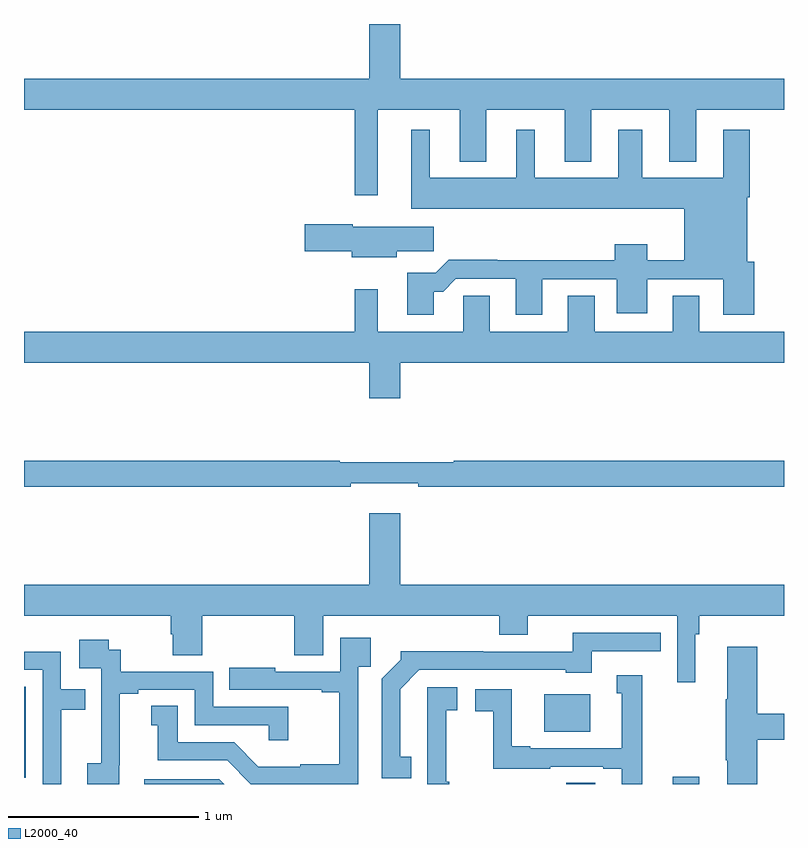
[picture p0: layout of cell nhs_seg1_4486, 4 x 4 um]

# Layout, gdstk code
import gdstk
lib = gdstk.Library(unit=1e-6, precision=1e-09)
def R(c, l, rs):  # rectangles x0, y0, x1, y1
    for r in rs: c.add(gdstk.rectangle(r[:2], r[2:], *l))
def P(c, l, *ps):  # polygons
    for p in ps: c.add(gdstk.Polygon(p, *l))
L2000_40 = (2000, 40)

nhs_seg1_4486 = lib.new_cell('nhs_seg1_4486')
R(nhs_seg1_4486, L2000_40, [(357.854,532.199,358.006,532.205), (358.415,532.199,358.555,532.237), (355,532.233,355.008,532.71), (357.737,532.475,357.979,532.672)])
P(nhs_seg1_4486, L2000_40, [(356.863,535.748),(357.293,535.748),(357.293,535.475),(357.433,535.475),(357.433,535.748),(357.845,535.748),(357.845,535.475),(357.985,535.475),(357.985,535.748),(358.397,535.748),(358.397,535.475),(358.537,535.475),(358.537,535.748),(359,535.748),(359,535.912),(356.98,535.912),(356.98,536.199),(356.816,536.199),(356.816,535.912),(355,535.912),(355,535.748),(356.742,535.748),(356.742,535.299),(356.863,535.299)],
  [(357.157,534.791),(357.206,534.791),(357.273,534.858),(357.587,534.858),(357.587,534.669),(357.727,534.669),(357.727,534.855),(358.121,534.855),(358.121,534.677),(358.279,534.677),(358.279,534.855),(358.679,534.855),(358.679,534.669),(358.844,534.669),(358.844,534.948),(358.807,534.948),(358.807,535.286),(358.82,535.286),(358.82,535.642),(358.679,535.642),(358.679,535.39),(358.255,535.39),(358.255,535.642),(358.127,535.642),(358.127,535.39),(357.688,535.39),(357.688,535.642),(357.59,535.642),(357.59,535.39),(357.136,535.39),(357.136,535.642),(357.038,535.642),(357.038,535.226),(358.475,535.226),(358.475,534.956),(358.279,534.956),(358.279,535.039),(358.109,535.039),(358.109,534.956),(357.491,534.956),(357.491,534.959),(357.236,534.959),(357.166,534.889),(357.017,534.889),(357.017,534.669),(357.157,534.669)],
  [(356.962,535.003),(357.157,535.003),(357.157,535.132),(356.73,535.132),(356.73,535.145),(356.478,535.145),(356.478,535.003),(356.726,535.003),(356.726,534.971),(356.962,534.971)],
  [(356.98,534.416),(359,534.416),(359,534.58),(358.555,534.58),(358.555,534.77),(358.415,534.77),(358.415,534.58),(358.003,534.58),(358.003,534.77),(357.863,534.77),(357.863,534.58),(357.451,534.58),(357.451,534.77),(357.312,534.77),(357.312,534.58),(356.863,534.58),(356.863,534.802),(356.742,534.802),(356.742,534.58),(355,534.58),(355,534.416),(356.816,534.416),(356.816,534.228),(356.98,534.228)],
  [(356.72,533.783),(357.076,533.783),(357.076,533.764),(359,533.764),(359,533.9),(357.262,533.9),(357.262,533.893),(356.662,533.893),(356.662,533.9),(355,533.9),(355,533.764),(356.72,533.764)],
  [(358.534,532.988),(358.553,532.988),(358.553,533.084),(359,533.084),(359,533.248),(356.98,533.248),(356.98,533.623),(356.816,533.623),(356.816,533.248),(355,533.248),(355,533.084),(355.772,533.084),(355.772,532.986),(355.784,532.986),(355.784,532.876),(355.937,532.876),(355.937,533.084),(356.423,533.084),(356.423,532.876),(356.575,532.876),(356.575,533.084),(357.5,533.084),(357.5,532.985),(357.652,532.985),(357.652,533.084),(358.437,533.084),(358.437,532.734),(358.534,532.734)],
  [(357.038,532.343),(356.98,532.343),(356.98,532.699),(357.081,532.8),(357.852,532.8),(357.852,532.784),(357.988,532.784),(357.988,532.899),(358.352,532.899),(358.352,532.995),(357.889,532.995),(357.889,532.896),(357.416,532.896),(357.416,532.898),(356.982,532.898),(356.982,532.853),(356.883,532.754),(356.883,532.23),(357.038,532.23)],
  [(356.76,532.817),(356.825,532.817),(356.825,532.969),(356.664,532.969),(356.664,532.791),(356.323,532.791),(356.323,532.81),(356.08,532.81),(356.08,532.695),(356.567,532.695),(356.567,532.683),(356.659,532.683),(356.659,532.303),(356.453,532.303),(356.453,532.291),(356.234,532.291),(356.106,532.419),(355.81,532.419),(355.81,532.61),(355.67,532.61),(355.67,532.507),(355.703,532.507),(355.703,532.323),(356.07,532.323),(356.194,532.199),(356.76,532.199)],
  [(355.502,532.297),(355.504,532.297),(355.504,532.675),(355.6,532.675),(355.6,532.695),(355.899,532.695),(355.899,532.509),(356.289,532.509),(356.289,532.428),(356.39,532.428),(356.39,532.605),(355.995,532.605),(355.995,532.791),(355.508,532.791),(355.508,532.905),(355.446,532.905),(355.446,532.957),(355.29,532.957),(355.29,532.809),(355.407,532.809),(355.407,532.505),(355.406,532.505),(355.406,532.308),(355.332,532.308),(355.332,532.199),(355.502,532.199)],
  [(358.859,532.432),(359,532.432),(359,532.568),(358.859,532.568),(358.859,532.921),(358.7,532.921),(358.7,532.645),(358.693,532.645),(358.693,532.324),(358.7,532.324),(358.7,532.199),(358.859,532.199)],
  [(355.195,532.59),(355.322,532.59),(355.322,532.698),(355.194,532.698),(355.194,532.896),(355,532.896),(355,532.8),(355.098,532.8),(355.098,532.199),(355.195,532.199)],
  [(358.255,532.771),(358.121,532.771),(358.121,532.677),(358.145,532.677),(358.145,532.386),(357.664,532.386),(357.664,532.399),(357.568,532.399),(357.568,532.698),(357.375,532.698),(357.375,532.582),(357.469,532.582),(357.469,532.278),(357.77,532.278),(357.77,532.29),(358.049,532.29),(358.049,532.278),(358.145,532.278),(358.145,532.199),(358.255,532.199)],
  [(357.239,532.211),(357.222,532.211),(357.222,532.587),(357.28,532.587),(357.28,532.708),(357.122,532.708),(357.122,532.432),(357.123,532.432),(357.123,532.199),(357.239,532.199)],
  [(356.028,532.224),(355.632,532.224),(355.632,532.199),(356.053,532.199)])

lib.write_gds('nhs_seg1_4486.gds')
